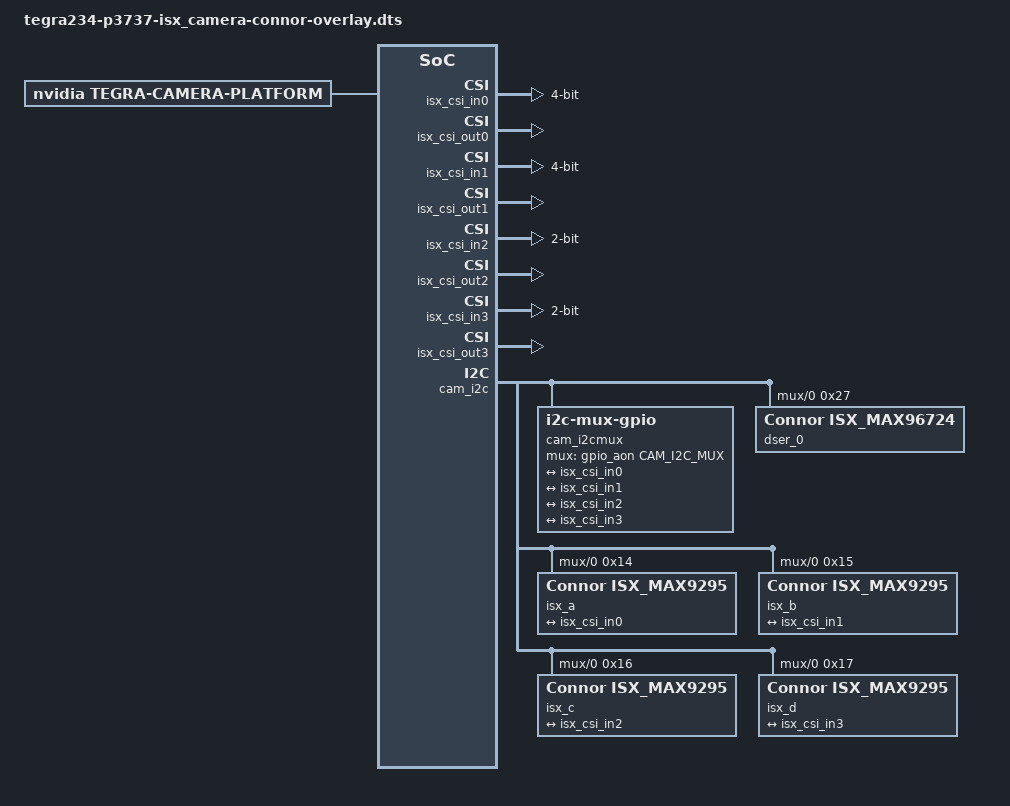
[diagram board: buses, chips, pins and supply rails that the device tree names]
// SPDX-License-Identifier: GPL-2.0-only
// SPDX-FileCopyrightText: Copyright (c) 2018-2023, NVIDIA CORPORATION & AFFILIATES. All rights reserved.

/dts-v1/;
/plugin/;

#include <dt-bindings/clock/tegra234-clock.h>
#include <dt-bindings/gpio/tegra234-gpio.h>
#include <dt-bindings/tegra234-p3737-0000+p3701-0000.h>
#include <dt-bindings/tegra234-p3767-0000-common.h>

#define CAM0_RST    TEGRA234_MAIN_GPIO(H, 3)
#define CAM0_PWDN    TEGRA234_MAIN_GPIO(H, 6)
#define CAM1_PWDN    TEGRA234_MAIN_GPIO(AC, 0)
#define CAM_I2C_MUX     TEGRA234_AON_GPIO(CC, 3)

/* camera control gpio definitions */
/ {
	overlay-name = "Jetson isx Camera Connor";
    jetson-header-name = "Jetson 24pin CSI Connector";
    compatible = JETSON_COMPATIBLE_P3768;

	fragment@0 {
		target-path = "/";

		__overlay__ {
			connor {
				branch {
					label = "fish_camera_isx_v1.0_20251211";
				};
			};
			tegra-capture-vi {
				num-channels = <4>;
				ports {
					status = "okay";
					port@0 {
						status = "okay";
						reg = <0>;
						isx_vi_in0: endpoint {
							status = "okay";
							vc-id = <0>;
							port-index = <2>;
							bus-width = <4>;
							remote-endpoint = <&isx_csi_out0>;
						};
					};
					port@1 {
						status = "okay";
						reg = <1>;
						isx_vi_in1: endpoint {
							status = "okay";
							vc-id = <1>;
							port-index = <2>;
							bus-width = <4>;
							remote-endpoint = <&isx_csi_out1>;
						};
					};
					port@2 {
						status = "okay";
						reg = <2>;
						isx_vi_in2: endpoint {
							status = "okay";
							vc-id = <0>;
							port-index = <1>;
							bus-width = <2>;
							remote-endpoint = <&isx_csi_out2>;
						};
					};
					port@3 {
						status = "okay";
						reg = <3>;
						isx_vi_in3: endpoint {
							status = "okay";
							vc-id = <1>;
							port-index = <1>;
							bus-width = <2>;
							remote-endpoint = <&isx_csi_out3>;
						};
					};
				};
			};
            
			tegra-camera-platform {
				compatible = "nvidia, tegra-camera-platform";
				num_csi_lanes = <4>;
				max_lane_speed = <1500000>;
				min_bits_per_pixel = <10>;
				vi_peak_byte_per_pixel = <2>;
				vi_bw_margin_pct = <25>;
				max_pixel_rate = <7500000>;
				isp_peak_byte_per_pixel = <5>;
				isp_bw_margin_pct = <25>;
			};

			bus@0{
				host1x@13e00000 {
					nvcsi@15a00000 {
						num-channels = <4>;
						channel@0 {
							status = "okay";
							reg = <0>;
							ports {
								status = "okay";
								#address-cells = <1>;
								#size-cells = <0>;
								port@0 {
									status = "okay";
									reg = <0>;
									isx_csi_in0: endpoint {
										status = "okay";
										port-index = <2>;
										bus-width = <4>;
										remote-endpoint = <&isx_cam_out0>;
									};
								};
								port@1 {
									status = "okay";
									reg = <1>;
									isx_csi_out0: endpoint {
										status = "okay";
										remote-endpoint = <&isx_vi_in0>;
									};
								};
							};
						};
						channel@1 {
							status = "okay";
							reg = <1>;
							ports {
								status = "okay";
								#address-cells = <1>;
								#size-cells = <0>;
								port@0 {
									status = "okay";
									reg = <0>;
									isx_csi_in1: endpoint {
										status = "okay";
										port-index = <2>;
										bus-width = <4>;
										remote-endpoint = <&isx_cam_out1>;
									};
								};
								port@1 {
									status = "okay";
									reg = <1>;
									isx_csi_out1: endpoint {
										status = "okay";
										remote-endpoint = <&isx_vi_in1>;
									};
								};
							};
						};
						channel@2 {
							status = "okay";
							reg = <2>;
							ports {
								status = "okay";
								#address-cells = <1>;
								#size-cells = <0>;
								port@0 {
									status = "okay";
									reg = <0>;
									isx_csi_in2: endpoint {
										status = "okay";
										port-index = <1>;
										bus-width = <2>;
										remote-endpoint = <&isx_cam_out2>;
									};
								};
								port@1 {
									status = "okay";
									reg = <1>;
									isx_csi_out2: endpoint {
										status = "okay";
										remote-endpoint = <&isx_vi_in2>;
									};
								};
							};
						};
						channel@3 {
							status = "okay";
							reg = <3>;
							ports {
								status = "okay";
								#address-cells = <1>;
								#size-cells = <0>;
								port@0 {
									status = "okay";
									reg = <0>;
									isx_csi_in3: endpoint {
										status = "okay";
										port-index = <1>;
										bus-width = <2>;
										remote-endpoint = <&isx_cam_out3>;
									};
								};
								port@1 {
									status = "okay";
									reg = <1>;
									isx_csi_out3: endpoint {
										status = "okay";
										remote-endpoint = <&isx_vi_in3>;
									};
								};
							};
						};
					};
				};

                cam_i2cmux {
                    status = "okay";
                    compatible = "i2c-mux-gpio";
                    #address-cells = <1>;
                    #size-cells = <0>;
                    mux-gpios = <&gpio_aon CAM_I2C_MUX GPIO_ACTIVE_HIGH>;
                    i2c-parent = <&cam_i2c>;
					i2c@0 {
						reg = <0>;
						#address-cells = <1>;
						#size-cells = <0>;
						status = "okay";
						dser_0: max96724 {
							status = "okay";
							compatible = "Connor,isx_max96724";
							reg = <0x27>;
							is-master;
						};
						isx_a {
							status = "okay";
							def-addr = <0x1a>; /* actual i2c address of sensor */
							nvidia,gmsl-dser-device = <&dser_0>;
							des-link = "A";

							compatible = "Connor,isx_max9295";

							reg = <0x14>; /* 9295 will translate to this i2c address */

							physical_w = "15.0";
							physical_h = "12.5";
							sensor_model ="isx";
							post_crop_frame_drop = "0";
							use_decibel_gain = "true";

							/* enable CID_SENSOR_MODE_ID for sensor modes selection */
							use_sensor_mode_id = "true";

							mode0 {
								mclk_khz = "24000";
								num_lanes = "2";
								tegra_sinterface = "serial_a";
								vc_id = "0";
								discontinuous_clk = "no";
								dpcm_enable = "false";
								cil_settletime = "0";
								dynamic_pixel_bit_depth = "16";
								csi_pixel_bit_depth = "16"; 
								mode_type = "yuv";
								pixel_phase = "uyvy";

								active_w = "1920";
								active_h = "1536";
								readout_orientation = "0";
								line_length = "2200";
								inherent_gain = "1";
								pix_clk_hz = "165000000";
								serdes_pix_clk_hz = "800000000";

								gain_factor = "10";
								min_gain_val = "0"; /* dB */
								max_gain_val = "420"; /* dB */
								step_gain_val = "3"; /* 0.3 */
								default_gain = "150";
								min_hdr_ratio = "1";
								max_hdr_ratio = "1";
								framerate_factor = "1000000";
								min_framerate = "30000000";
								max_framerate = "30000000";
								step_framerate = "1";
								default_framerate = "30000000";
								exposure_factor = "1000000";
								min_exp_time = "59"; /*us, 2 lines*/
								max_exp_time = "33333";
								step_exp_time = "1";
								default_exp_time = "33333";/* us */
								embedded_metadata_height = "0";
							};

							ports {
								#address-cells = <1>;
								#size-cells = <0>;
								port@0 {
									reg = <0>;
									isx_cam_out0: endpoint {
										vc-id = <0>;
										port-index = <2>;
										bus-width = <4>;
										remote-endpoint = <&isx_csi_in0>;
									};
								};
							};
							gmsl-link {
								num-ser-lanes = <4>;
								streams = "yuv16";
							};
						};
						isx_b {
							status = "okay";
							def-addr = <0x1a>; /* actual i2c address of sensor */
							nvidia,gmsl-dser-device = <&dser_0>;
							des-link = "B";

							compatible = "Connor,isx_max9295";

							reg = <0x15>; /* 9295 will translate to this i2c address */

							physical_w = "15.0";
							physical_h = "12.5";
							sensor_model ="isx";
							post_crop_frame_drop = "0";
							use_decibel_gain = "true";

							/* enable CID_SENSOR_MODE_ID for sensor modes selection */
							use_sensor_mode_id = "true";
							
							mode0 {
								mclk_khz = "24000";
								num_lanes = "2";
								tegra_sinterface = "serial_a";
								vc_id = "2";
								discontinuous_clk = "no";
								dpcm_enable = "false";
								cil_settletime = "0";
								dynamic_pixel_bit_depth = "16";
								csi_pixel_bit_depth = "16"; 
								mode_type = "yuv";
								pixel_phase = "uyvy";

								active_w = "1920";
								active_h = "1536";
								readout_orientation = "0";
								line_length = "2200";
								inherent_gain = "1";
								pix_clk_hz = "165000000";
								serdes_pix_clk_hz = "800000000";

								gain_factor = "10";
								min_gain_val = "0"; /* dB */
								max_gain_val = "420"; /* dB */
								step_gain_val = "3"; /* 0.3 */
								default_gain = "150";
								min_hdr_ratio = "1";
								max_hdr_ratio = "1";
								framerate_factor = "1000000";
								min_framerate = "30000000";
								max_framerate = "30000000";
								step_framerate = "1";
								default_framerate = "30000000";
								exposure_factor = "1000000";
								min_exp_time = "59"; /*us, 2 lines*/
								max_exp_time = "33333";
								step_exp_time = "1";
								default_exp_time = "33333";/* us */
								embedded_metadata_height = "0";
							};

							ports {
								#address-cells = <1>;
								#size-cells = <0>;
								port@0 {
									reg = <0>;
									isx_cam_out1: endpoint {
										vc-id = <1>;
										port-index = <2>;
										bus-width = <4>;
										remote-endpoint = <&isx_csi_in1>;
									};
								};
							};
							gmsl-link {
								num-ser-lanes = <4>;
								streams = "yuv16";
							};
						};
						isx_c {
							status = "okay";
							def-addr = <0x1a>; /* actual i2c address of sensor */
							nvidia,gmsl-dser-device = <&dser_0>;
							des-link = "C";

							compatible = "Connor,isx_max9295";

							reg = <0x16>; /* 9295 will translate to this i2c address */

							physical_w = "15.0";
							physical_h = "12.5";
							sensor_model ="isx";
							post_crop_frame_drop = "0";
							use_decibel_gain = "true";

							/* enable CID_SENSOR_MODE_ID for sensor modes selection */
							use_sensor_mode_id = "true";

							mode0 {
								lane_polarity = "6";
								mclk_khz = "24000";
								num_lanes = "2";
								tegra_sinterface = "serial_a";
								vc_id = "2";
								discontinuous_clk = "no";
								dpcm_enable = "false";
								cil_settletime = "0";
								dynamic_pixel_bit_depth = "16";
								csi_pixel_bit_depth = "16"; 
								mode_type = "yuv";
								pixel_phase = "uyvy";

								active_w = "1920";
								active_h = "1536";
								readout_orientation = "0";
								line_length = "2200";
								inherent_gain = "1";
								pix_clk_hz = "165000000";
								serdes_pix_clk_hz = "800000000";

								gain_factor = "10";
								min_gain_val = "0"; /* dB */
								max_gain_val = "420"; /* dB */
								step_gain_val = "3"; /* 0.3 */
								default_gain = "150";
								min_hdr_ratio = "1";
								max_hdr_ratio = "1";
								framerate_factor = "1000000";
								min_framerate = "30000000";
								max_framerate = "30000000";
								step_framerate = "1";
								default_framerate = "30000000";
								exposure_factor = "1000000";
								min_exp_time = "59"; /*us, 2 lines*/
								max_exp_time = "33333";
								step_exp_time = "1";
								default_exp_time = "33333";/* us */
								embedded_metadata_height = "0";
							};

							ports {
								#address-cells = <1>;
								#size-cells = <0>;
								port@0 {
									reg = <0>;
									isx_cam_out2: endpoint {
										vc-id = <0>;
										port-index = <1>;
										bus-width = <2>;
										remote-endpoint = <&isx_csi_in2>;
									};
								};
							};
							gmsl-link {
								num-ser-lanes = <4>;
								streams = "yuv16";
							};
						};

						isx_d {
							status = "okay";
							def-addr = <0x1a>; /* actual i2c address of sensor */
							nvidia,gmsl-dser-device = <&dser_0>;
							des-link = "D";

							compatible = "Connor,isx_max9295";

							reg = <0x17>; /* 9295 will translate to this i2c address */

							physical_w = "15.0";
							physical_h = "12.5";
							sensor_model ="isx";
							post_crop_frame_drop = "0";
							use_decibel_gain = "true";

							/* enable CID_SENSOR_MODE_ID for sensor modes selection */
							use_sensor_mode_id = "true";

							mode0 {
								lane_polarity = "6";
								mclk_khz = "24000";
								num_lanes = "2";
								tegra_sinterface = "serial_a";
								vc_id = "2";
								discontinuous_clk = "no";
								dpcm_enable = "false";
								cil_settletime = "0";
								dynamic_pixel_bit_depth = "16";
								csi_pixel_bit_depth = "16"; 
								mode_type = "yuv";
								pixel_phase = "uyvy";

								active_w = "1920";
								active_h = "1536";
								readout_orientation = "0";
								line_length = "2200";
								inherent_gain = "1";
								pix_clk_hz = "165000000";
								serdes_pix_clk_hz = "800000000";

								gain_factor = "10";
								min_gain_val = "0"; /* dB */
								max_gain_val = "420"; /* dB */
								step_gain_val = "3"; /* 0.3 */
								default_gain = "150";
								min_hdr_ratio = "1";
								max_hdr_ratio = "1";
								framerate_factor = "1000000";
								min_framerate = "30000000";
								max_framerate = "30000000";
								step_framerate = "1";
								default_framerate = "30000000";
								exposure_factor = "1000000";
								min_exp_time = "59"; /*us, 2 lines*/
								max_exp_time = "33333";
								step_exp_time = "1";
								default_exp_time = "33333";/* us */
								embedded_metadata_height = "0";
							};

							ports {
								#address-cells = <1>;
								#size-cells = <0>;
								port@0 {
									reg = <0>;
									isx_cam_out3: endpoint {
										vc-id = <1>;
										port-index = <1>;
										bus-width = <2>;
										remote-endpoint = <&isx_csi_in3>;
									};
								};
							};
							gmsl-link {
								num-ser-lanes = <4>;
								streams = "yuv16";
							};
						};
					};
				};
			};
		};
	};
};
